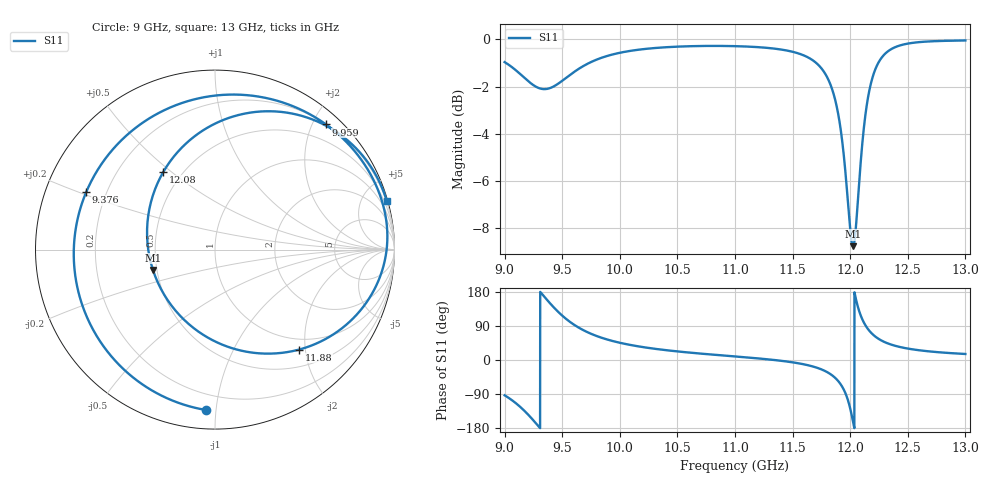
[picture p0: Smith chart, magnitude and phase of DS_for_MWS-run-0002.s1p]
! TOUCHSTONE file generated by CST DESIGN STUDIO
! Date and time: Tue Feb  4 13:41:00 2025
! Project name: C:\Work\MatlabApps\UnitCellOptimizationMatlab\CST\unitcell.cst
! Tree item: Tasks\Sweep1\SPara1\S-Parameters
! Header version: 2024
! Port assignment regex: !\s*Touchstone port\s*([0-9]+)\s*=\s*(CST MWS port|CST DES external port|CST DES block port)\s*(.+)\s* \(\"(.*)\"\)(\s*mode\s*([0-9]+))?.*
! Touchstone port assignment:
! Touchstone port 1 = CST DES external port 1 ("")
# GHz S MA R 50
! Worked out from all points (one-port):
!   4001 points, 9 GHz to 13 GHz, reference 50 ohm
!   lowest |S11| = -8.8 dB at 12.02 GHz (marker M1), VSWR 2.14, Z = 23.8 - j6.25 ohm
!   |S11| at or under -10 dB: nowhere
!   S11 on the Smith chart (normalised r, x): 9 GHz: 0.10, -0.94; 9.376 GHz: 0.13, +0.21; 9.959 GHz: 0.21, +2.21; 11.88 GHz: 0.79, -1.88; 12.08 GHz: 0.40, +0.47; 13 GHz: 0.13, +7.18
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9  0.8951 -93.2
9.088  0.8639 -111.6
9.168  0.8306 -133.0
9.277  0.7924 -168.8
9.376  0.7859 155.9
9.5  0.8169 117.2
9.598  0.8512 94.0
9.722  0.8884 73.0
9.959  0.932 48.5
10  0.9368 45.5
10.216  0.9544 33.3
10.5  0.9654 22.7
11  0.9677 9.4
11.5  0.9414 -6.2
11.741  0.8736 -23.6
11.817  0.8147 -35.0
11.879  0.7278 -49.9
11.947  0.5595 -79.8
12  0.395 -127.8
12.024  0.3638 -161.8
12.053  0.409 156.5
12.084  0.5205 123.5
12.118  0.6468 99.3
12.154  0.7513 81.8
12.259  0.9045 53.5
12.36  0.9549 40.2
12.5  0.9799 30.1
13  0.995 15.9
